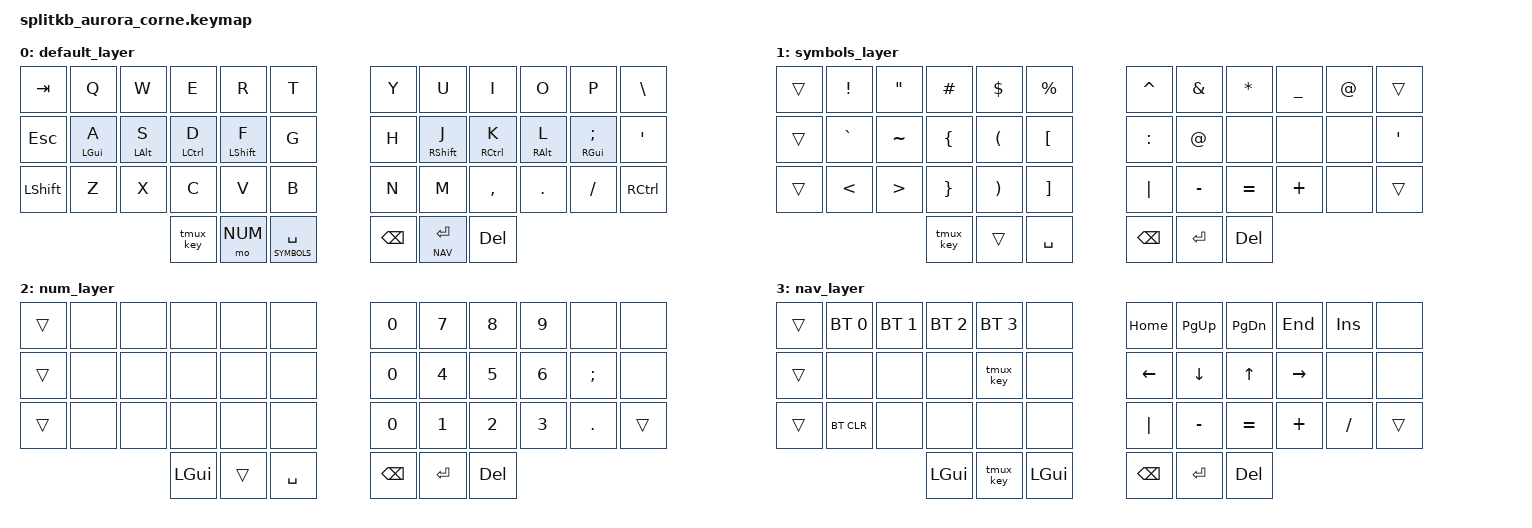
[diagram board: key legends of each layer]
/*
 * Copyright (c) 2020 The ZMK Contributors
 *
 * SPDX-License-Identifier: MIT
 */

#include <behaviors.dtsi>
#include <dt-bindings/zmk/keys.h>
#include <dt-bindings/zmk/bt.h>
#include <dt-bindings/zmk/outputs.h>

#define DEFAULT 0
#define SYMBOLS 1
#define NUM     2
#define NAV     3

&caps_word {
    continue-list = <UNDERSCORE MINUS>;
};

/ {
    behaviors {
        am: alpha_mods {
            compatible = "zmk,behavior-hold-tap";
            label = "ALPHA_MT";
            #binding-cells = <2>;
            tapping-term-ms = <250>;
            quick-tap-ms = <150>;
            flavor = "tap-preferred";
            bindings = <&kp>, <&kp>;
        };
    };
    macros {
        tmux_key: tmux_key {
            label = "tmux_key";
            compatible = "zmk,behavior-macro";
            #binding-cells = <0>;
            bindings
            = <&macro_press &kp LCTRL>
            , <&macro_tap &kp B >
            , <&macro_release &kp LCTRL>
            ;
        };
    };

	keymap {
		compatible = "zmk,keymap";

		default_layer {
// Base layer: QWERTY

			bindings = <
// ╭────────────┬────────────┬────────────┬────────────┬────────────┬────────────╮            ╭────────────┬────────────┬────────────┬────────────┬────────────┬────────────╮
    &kp TAB       &kp Q        &kp W        &kp E        &kp R        &kp T                     &kp Y        &kp U        &kp I        &kp O        &kp P        &kp BSLH
// ├────────────┼────────────┼────────────┼────────────┼────────────┼────────────┤            ├────────────┼────────────┼────────────┼────────────┼────────────┼────────────┤
    &kp ESC       &am LGUI A   &am LALT S   &am LCTRL D  &am LSHFT F  &kp G                     &kp H        &am RSHFT J  &am RCTRL K  &am RALT L  &am RGUI SEMI &kp SQT
// ├────────────┼────────────┼────────────┼────────────┼────────────┼────────────┼            ┼────────────┼────────────┼────────────┼────────────┼────────────┼────────────┤
    &kp LSHFT     &kp Z        &kp X        &kp C        &kp V        &kp B                     &kp N        &kp M        &kp COMMA    &kp DOT      &kp FSLH     &kp RCTRL
// ╰────────────┴────────────┴────────────┼────────────┼────────────┼────────────┼            ┼────────────┼────────────┼────────────┴────────────┴────────────┴────────────╯
                                            &tmux_key   &mo NUM     &lt SYMBOLS SPACE          &kp BSPC      &lt NAV RET  &kp DEL
//                                        ╰────────────┴────────────┴────────────╯            ╰────────────┴────────────┴────────────╯
            >;

		};

		symbols_layer {

            bindings = <
// ╭────────────┬────────────┬────────────┬────────────┬────────────┬────────────╮          ╭────────────┬────────────┬────────────┬────────────┬────────────┬────────────╮
	&trans        &kp EXCL     &kp DQT      &kp HASH     &kp DOLLAR   &kp PRCNT               &kp CARET    &kp AMPS     &kp STAR     &kp UNDER    &kp AT       &trans
// ├────────────┼────────────┼────────────┼────────────┼────────────┼────────────┤          ├────────────┼────────────┼────────────┼────────────┼────────────┼────────────┤
    &trans        &kp GRAVE    &kp TILDE    &kp LBRC     &kp LPAR     &kp LBKT                &kp COLON    &kp AT       &none        &none        &none        &kp SQT
// ├────────────┼────────────┼────────────┼────────────┼────────────┼────────────┼          ┼────────────┼────────────┼────────────┼────────────┼────────────┼────────────┤
    &trans        &kp LT       &kp GT       &kp RBRC     &kp RPAR     &kp RBKT                &kp PIPE     &kp MINUS    &kp EQUAL    &kp PLUS     &none        &trans
// ╰────────────┴────────────┴────────────┼────────────┼────────────┼────────────┼          ┼────────────┼────────────┼────────────┴────────────┴────────────┴────────────╯
                                            &tmux_key    &trans       &kp SPACE               &kp BSPC      &kp RET     &kp DEL
//                                        ╰────────────┴────────────┴────────────┴          ┴────────────┴────────────┴────────────╯
            >;

		};

		num_layer {

            bindings = <
// ╭────────────┬────────────┬────────────┬────────────┬────────────┬────────────╮          ╭────────────┬────────────┬────────────┬────────────┬────────────┬────────────╮
    &trans        &none        &none        &none        &none        &none                   &kp N0       &kp N7       &kp N8       &kp N9       &none        &none
// ├────────────┼────────────┼────────────┼────────────┼────────────┼────────────┤          ├────────────┼────────────┼────────────┼────────────┼────────────┼────────────┤
    &trans        &none        &none        &none        &none        &none                   &kp N0       &kp N4       &kp N5       &kp N6       &kp SEMI     &none
// ├────────────┼────────────┼────────────┼────────────┼────────────┼────────────┼          ┼────────────┼────────────┼────────────┼────────────┼────────────┼────────────┤
    &trans        &none        &none        &none        &none        &none                   &kp N0       &kp N1       &kp N2       &kp N3       &kp DOT     &trans
// ╰────────────┴────────────┴────────────┼────────────┼────────────┼────────────┼          ┼────────────┼────────────┼────────────┴────────────┴────────────┴────────────╯
                                            &kp LGUI     &trans       &kp SPACE              &kp BSPC      &kp RET      &kp DEL
//                                        ╰────────────┴────────────┴────────────┴          ┴────────────┴────────────┴────────────╯
            >;

		};

		nav_layer {

            bindings = <
// ╭────────────┬────────────┬────────────┬────────────┬────────────┬────────────╮          ╭────────────┬────────────┬────────────┬────────────┬────────────┬────────────╮
    &trans        &bt BT_SEL 0  &bt BT_SEL 1  &bt BT_SEL 2  &bt BT_SEL 3  &none               &kp HOME     &kp PG_UP    &kp PG_DN    &kp END      &kp INS      &none
// ├────────────┼────────────┼────────────┼────────────┼────────────┼────────────┤          ├────────────┼────────────┼────────────┼────────────┼────────────┼────────────┤
    &trans        &none        &none        &none        &tmux_key        &none                   &kp LEFT     &kp DOWN     &kp UP       &kp RIGHT    &none        &none
// ├────────────┼────────────┼────────────┼────────────┼────────────┼────────────┼          ├────────────┼────────────┼────────────┼────────────┼────────────┼────────────┤
    &trans        &bt BT_CLR   &none        &none        &none        &none                   &kp PIPE     &kp MINUS    &kp EQUAL    &kp PLUS      &kp FSLH    &trans
// ╰────────────┴────────────┴────────────┼────────────┼────────────┼────────────┼           ────────────┼────────────┼────────────┴────────────┴────────────┴────────────╯
                                            &kp LGUI     &tmux_key    &kp LGUI                &kp BSPC      &kp RET     &kp DEL
//                                        ╰────────────┴────────────┴────────────╯          ╰────────────┴────────────┴────────────╯
            >;

		};

	};
};
